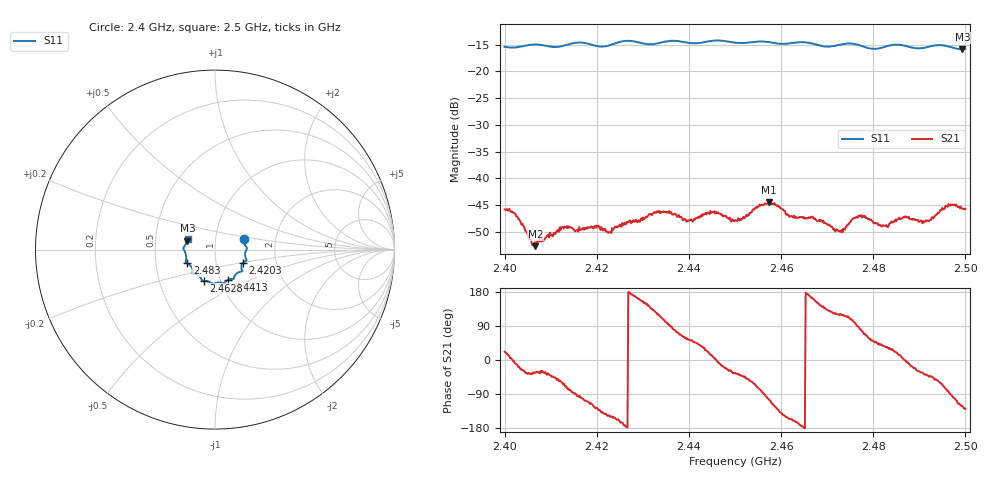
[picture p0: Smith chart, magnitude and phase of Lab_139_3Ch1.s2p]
# Hz S RI R 50
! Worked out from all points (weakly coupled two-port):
!   601 points, 2.4 GHz to 2.5 GHz, reference 50 ohm
!   highest |S21| = -44.44 dB at 2.4573 GHz (marker M1); lowest = -52.7 dB at 2.4067 GHz (marker M2)
!   lowest |S11| = -15.8 dB at 2.4993 GHz (marker M3), VSWR 1.39, Z = 36.5 + j3.71 ohm
!   |S11| at or under -10 dB: start of sweep to end of sweep
!   S12 and S22 are empty: the file has one direction only
!   S11 on the Smith chart (normalised r, x): 2.4 GHz: 1.37, +0.16; 2.4203 GHz: 1.35, -0.21; 2.4413 GHz: 1.09, -0.38; 2.4628 GHz: 0.83, -0.30; 2.483 GHz: 0.72, -0.11; 2.5 GHz: 0.73, +0.09
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2.4e9  0.1605 0.0573  0.00475 0.0019  0 0  0 0
2.402333e9  0.1647 0.0319  0.00458 -0.00076  0 0  0 0
2.406667e9  0.1786 0.00829  0.00193 -0.00129  0 0  0 0
2.4125e9  0.1686 -0.0373  0.00174 -0.00306  0 0  0 0
2.416667e9  0.1762 -0.0614  -0.000591 -0.00327  0 0  0 0
2.420333e9  0.1552 -0.0739  -0.0024 -0.0027  0 0  0 0
2.422667e9  0.1467 -0.0959  -0.00261 -0.00172  0 0  0 0
2.433333e9  0.1081 -0.1486  -0.00251 0.00419  0 0  0 0
2.441333e9  0.0744 -0.1679  0.00285 0.00295  0 0  0 0
2.445167e9  0.052 -0.1867  0.00475 0.000799  0 0  0 0
2.45e9  0.0292 -0.1838  0.00338 -0.00227  0 0  0 0
2.457333e9  -0.0183 -0.1875  -0.00142 -0.00583  0 0  0 0
2.462833e9  -0.063 -0.1749  -0.00422 -0.00152  0 0  0 0
2.466667e9  -0.0742 -0.1675  -0.00416 0.00115  0 0  0 0
2.472833e9  -0.1172 -0.1348  -0.00167 0.00268  0 0  0 0
2.477333e9  -0.1243 -0.1219  0.000847 0.00445  0 0  0 0
2.483e9  -0.1548 -0.0767  0.00291 0.00201  0 0  0 0
2.483333e9  -0.1568 -0.0757  0.00312 0.00177  0 0  0 0
2.492e9  -0.1698 -0.00705  0.00292 -0.00271  0 0  0 0
2.496833e9  -0.1676 0.022  -0.000139 -0.00571  0 0  0 0
2.499333e9  -0.154 0.0495  -0.00279 -0.00441  0 0  0 0
2.5e9  -0.1523 0.0586  -0.00328 -0.00402  0 0  0 0
